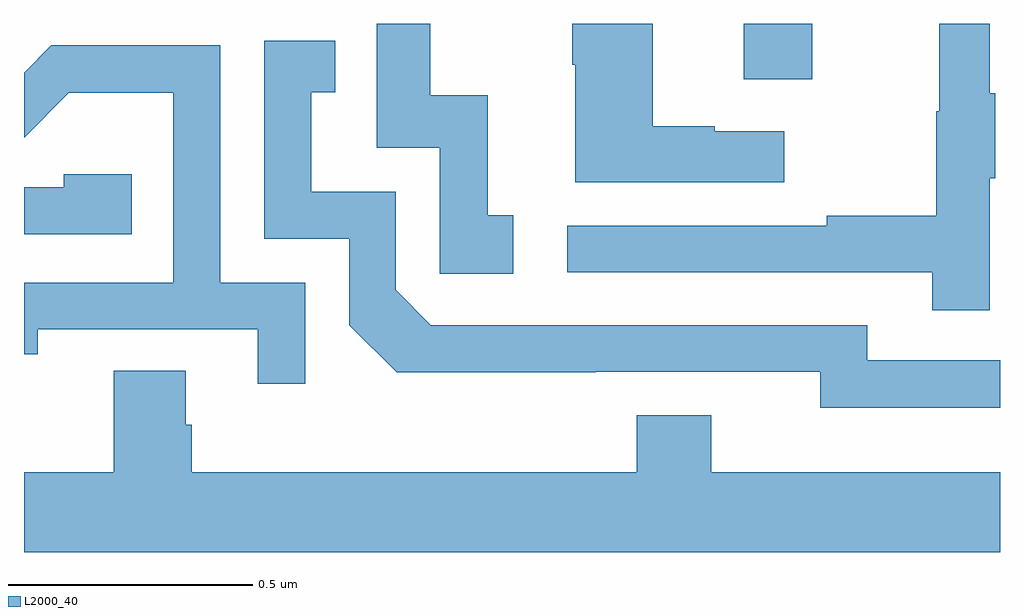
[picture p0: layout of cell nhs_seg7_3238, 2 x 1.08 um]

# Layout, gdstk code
import gdstk
lib = gdstk.Library(unit=1e-6, precision=1e-09)
def R(c, l, rs):  # rectangles x0, y0, x1, y1
    for r in rs: c.add(gdstk.rectangle(r[:2], r[2:], *l))
def P(c, l, *ps):  # polygons
    for p in ps: c.add(gdstk.Polygon(p, *l))
L2000_40 = (2000, 40)

nhs_seg7_3238 = lib.new_cell('nhs_seg7_3238')
R(nhs_seg7_3238, L2000_40, [(157.475,1034.886,157.615,1035)])
P(nhs_seg7_3238, L2000_40, [(157.558,1034.779),(157.415,1034.779),(157.415,1034.789),(157.288,1034.789),(157.288,1035),(157.123,1035),(157.123,1034.915),(157.13,1034.915),(157.13,1034.675),(157.558,1034.675)],
  [(157.979,1034.683),(157.99,1034.683),(157.99,1034.857),(157.979,1034.857),(157.979,1035),(157.876,1035),(157.876,1034.82),(157.869,1034.82),(157.869,1034.606),(157.645,1034.606),(157.645,1034.586),(157.113,1034.586),(157.113,1034.49),(157.861,1034.49),(157.861,1034.412),(157.979,1034.412)],
  [(157.003,1034.607),(156.95,1034.607),(156.95,1034.853),(156.832,1034.853),(156.832,1035),(156.723,1035),(156.723,1034.745),(156.852,1034.745),(156.852,1034.487),(157.003,1034.487)],
  [(158,1034.31),(157.728,1034.31),(157.728,1034.382),(156.834,1034.382),(156.762,1034.454),(156.762,1034.655),(156.589,1034.655),(156.589,1034.859),(156.638,1034.859),(156.638,1034.965),(156.492,1034.965),(156.492,1034.559),(156.666,1034.559),(156.666,1034.382),(156.764,1034.285),(157.172,1034.285),(157.172,1034.286),(157.632,1034.286),(157.632,1034.213),(158,1034.213)],
  [(156.576,1034.469),(156.402,1034.469),(156.402,1034.955),(156.056,1034.955),(156,1034.899),(156,1034.766),(156.092,1034.858),(156.306,1034.858),(156.306,1034.469),(156,1034.469),(156,1034.322),(156.028,1034.322),(156.028,1034.373),(156.479,1034.373),(156.479,1034.262),(156.576,1034.262)],
  [(156.221,1034.691),(156.081,1034.691),(156.081,1034.664),(156,1034.664),(156,1034.568),(156.221,1034.568)],
  [(158,1034.08),(157.408,1034.08),(157.408,1034.197),(157.256,1034.197),(157.256,1034.08),(156.344,1034.08),(156.344,1034.178),(156.331,1034.178),(156.331,1034.288),(156.184,1034.288),(156.184,1034.08),(156,1034.08),(156,1033.916),(158,1033.916)])

lib.write_gds('nhs_seg7_3238.gds')
